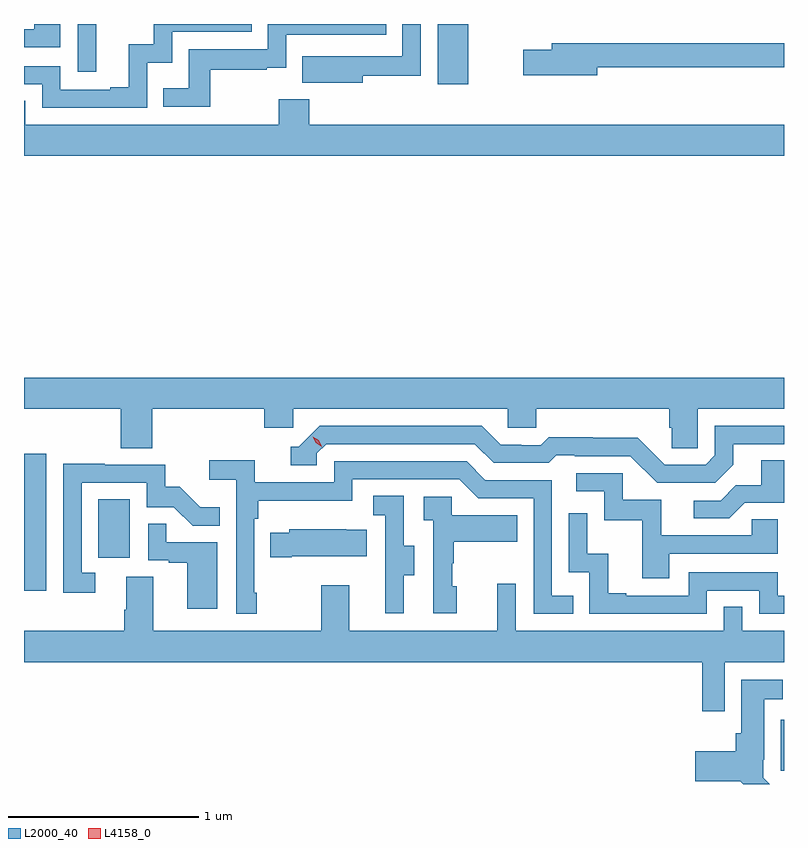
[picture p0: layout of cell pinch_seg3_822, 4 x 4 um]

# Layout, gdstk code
import gdstk
lib = gdstk.Library(unit=1e-6, precision=1e-09)
def R(c, l, rs):  # rectangles x0, y0, x1, y1
    for r in rs: c.add(gdstk.rectangle(r[:2], r[2:], *l))
def P(c, l, *ps):  # polygons
    for p in ps: c.add(gdstk.Polygon(p, *l))
L2000_40 = (2000, 40)
L4158_0 = (4158, 0)

pinch_seg3_822 = lib.new_cell('pinch_seg3_822')
R(pinch_seg3_822, L2000_40, [(890.633,725.652,890.65,725.919), (886.65,726.6,886.768,727.321), (887.042,726.774,887.206,727.081), (888.827,729.264,888.988,729.582), (886.932,729.33,887.029,729.582)])
P(pinch_seg3_822, L2000_40, [(888.433,729.31),(888.738,729.31),(888.738,729.582),(888.642,729.582),(888.642,729.411),(888.329,729.411),(888.329,729.412),(888.115,729.412),(888.115,729.272),(888.433,729.272)],
  [(887.629,729.342),(887.927,729.342),(887.927,729.353),(888.03,729.353),(888.03,729.525),(888.556,729.525),(888.556,729.582),(887.934,729.582),(887.934,729.45),(887.518,729.45),(887.518,729.244),(887.383,729.244),(887.383,729.147),(887.629,729.147)],
  [(887.298,729.377),(887.43,729.377),(887.43,729.54),(887.849,729.54),(887.849,729.582),(887.334,729.582),(887.334,729.475),(887.201,729.475),(887.201,729.25),(887.105,729.25),(887.105,729.237),(886.842,729.237),(886.842,729.36),(886.65,729.36),(886.65,729.264),(886.746,729.264),(886.746,729.141),(887.298,729.141)],
  [(886.842,729.582),(886.705,729.582),(886.705,729.555),(886.65,729.555),(886.65,729.459),(886.842,729.459)],
  [(889.666,729.354),(890.65,729.354),(890.65,729.482),(889.427,729.482),(889.427,729.446),(889.278,729.446),(889.278,729.311),(889.666,729.311)],
  [(890.65,729.052),(888.152,729.052),(888.152,729.187),(887.992,729.187),(887.992,729.052),(886.656,729.052),(886.656,729.179),(886.65,729.179),(886.65,728.888),(890.65,728.888)],
  [(886.65,727.556),(887.159,727.556),(887.159,727.348),(887.324,727.348),(887.324,727.556),(887.915,727.556),(887.915,727.458),(888.066,727.458),(888.066,727.556),(889.197,727.556),(889.197,727.458),(889.347,727.458),(889.347,727.556),(890.045,727.556),(890.045,727.458),(890.059,727.458),(890.059,727.348),(890.196,727.348),(890.196,727.556),(890.65,727.556),(890.65,727.72),(886.65,727.72)],
  [(890.383,727.261),(890.383,727.371),(890.65,727.371),(890.65,727.467),(890.286,727.467),(890.286,727.311),(890.238,727.263),(890.022,727.263),(889.88,727.405),(889.644,727.405),(889.644,727.408),(889.411,727.408),(889.369,727.365),(889.266,727.365),(889.266,727.368),(889.159,727.368),(889.06,727.467),(888.207,727.467),(888.096,727.356),(888.053,727.356),(888.053,727.26),(888.192,727.26),(888.192,727.323),(888.24,727.371),(889.023,727.371),(889.122,727.272),(889.411,727.272),(889.45,727.311),(889.549,727.311),(889.549,727.308),(889.842,727.308),(889.983,727.167),(890.289,727.167)],
  [(887.875,726.589),(887.862,726.589),(887.862,726.977),(887.882,726.977),(887.882,727.073),(888.378,727.073),(888.378,727.185),(888.942,727.185),(889.041,727.086),(889.332,727.086),(889.332,726.477),(889.541,726.477),(889.541,726.573),(889.428,726.573),(889.428,727.182),(889.078,727.182),(888.979,727.281),(888.282,727.281),(888.282,727.17),(887.864,727.17),(887.864,727.286),(887.625,727.286),(887.625,727.184),(887.766,727.184),(887.766,726.477),(887.875,726.477)],
  [(890.443,727.062),(890.649,727.062),(890.65,727.061),(890.65,727.286),(890.531,727.286),(890.531,727.154),(890.396,727.154),(890.316,727.074),(890.175,727.074),(890.175,726.981),(890.362,726.981)],
  [(887.026,726.693),(886.953,726.693),(886.953,727.167),(887.295,727.167),(887.295,727.038),(887.439,727.038),(887.537,726.94),(887.681,726.94),(887.681,727.039),(887.577,727.039),(887.47,727.146),(887.394,727.146),(887.394,727.263),(887.075,727.263),(887.075,727.268),(886.857,727.268),(886.857,726.588),(887.026,726.588)],
  [(890.047,726.795),(890.616,726.795),(890.616,726.975),(890.479,726.975),(890.479,726.891),(890.005,726.891),(890.005,727.077),(889.8,727.077),(889.8,727.218),(889.557,727.218),(889.557,727.122),(889.704,727.122),(889.704,726.969),(889.903,726.969),(889.903,726.666),(890.047,726.666)],
  [(888.649,726.682),(888.703,726.682),(888.703,726.837),(888.648,726.837),(888.648,727.1),(888.489,727.1),(888.489,726.997),(888.552,726.997),(888.552,726.693),(888.551,726.693),(888.551,726.48),(888.649,726.48)],
  [(888.928,726.624),(888.903,726.624),(888.903,726.743),(888.913,726.743),(888.913,726.857),(889.247,726.857),(889.247,726.997),(888.9,726.997),(888.9,727.095),(888.753,727.095),(888.753,726.971),(888.804,726.971),(888.804,726.48),(888.928,726.48)],
  [(890.244,726.6),(890.52,726.6),(890.52,726.477),(890.65,726.477),(890.65,726.573),(890.616,726.573),(890.616,726.696),(890.148,726.696),(890.148,726.573),(889.819,726.573),(889.819,726.586),(889.724,726.586),(889.724,726.794),(889.614,726.794),(889.614,727.006),(889.518,727.006),(889.518,726.696),(889.626,726.696),(889.626,726.477),(890.244,726.477)],
  [(887.668,726.855),(887.399,726.855),(887.399,726.953),(887.304,726.953),(887.304,726.759),(887.411,726.759),(887.411,726.747),(887.51,726.747),(887.51,726.504),(887.668,726.504)],
  [(888.058,726.782),(888.455,726.782),(888.455,726.919),(888.347,726.919),(888.347,726.922),(888.045,726.922),(888.045,726.904),(887.947,726.904),(887.947,726.775),(888.058,726.775)],
  [(890.337,726.224),(890.65,726.224),(890.65,726.388),(890.43,726.388),(890.43,726.515),(890.334,726.515),(890.334,726.388),(889.239,726.388),(889.239,726.637),(889.142,726.637),(889.142,726.388),(888.361,726.388),(888.361,726.628),(888.214,726.628),(888.214,726.388),(887.329,726.388),(887.329,726.674),(887.189,726.674),(887.189,726.5),(887.177,726.5),(887.177,726.388),(886.65,726.388),(886.65,726.224),(890.221,726.224),(890.221,725.964),(890.337,725.964)],
  [(890.541,725.616),(890.541,725.71),(890.545,725.71),(890.545,726.029),(890.644,726.029),(890.644,726.13),(890.426,726.13),(890.426,725.85),(890.396,725.85),(890.396,725.755),(890.184,725.755),(890.184,725.597),(890.421,725.597),(890.436,725.582),(890.575,725.582)])
P(pinch_seg3_822, L4158_0, [(888.216,727.358),(888.186,727.377),(888.169,727.409),(888.169,727.409),(888.169,727.409),(888.2,727.39),(888.217,727.358),(888.217,727.358)])

lib.write_gds('pinch_seg3_822.gds')
